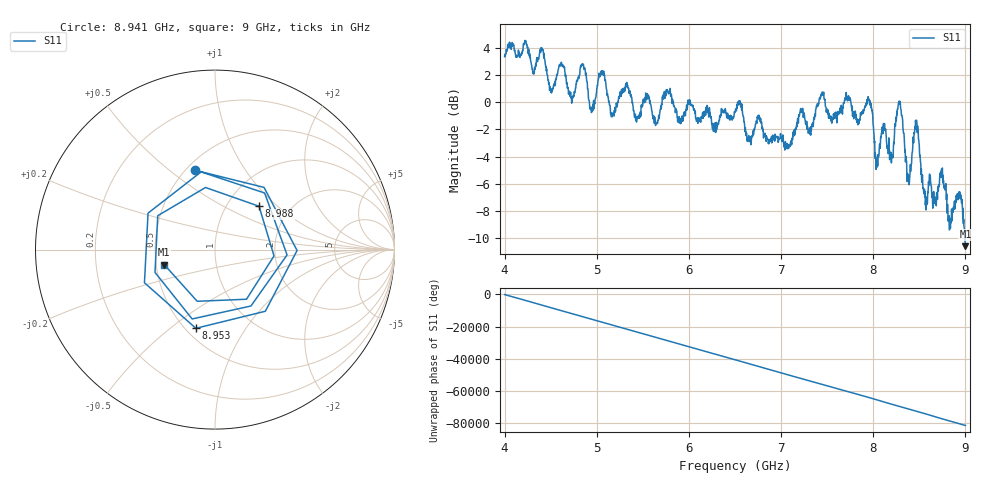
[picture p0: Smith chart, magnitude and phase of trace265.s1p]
! Created with skrf 1.8.0 (http://scikit-rf.org).
# Hz S RI R 50.0
!freq ReS11 ImS11
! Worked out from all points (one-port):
!   1601 points, 4 GHz to 9 GHz, reference 50 ohm
!   lowest |S11| = -10.6 dB at 9 GHz (marker M1), VSWR 1.84, Z = 27.6 - j5.03 ohm
!   |S11| at or under -10 dB: 8.995452 GHz to end of sweep
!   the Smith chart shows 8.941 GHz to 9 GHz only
!   S11 on the Smith chart (normalised r, x): 8.941 GHz: 0.55, +0.62; 8.953 GHz: 0.56, -0.62; 8.988 GHz: 1.40, +0.77; 9 GHz: 0.55, -0.10
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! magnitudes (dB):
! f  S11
! 4 GHz  3.4
! 4.403 GHz  4.0
! 4.512 GHz  1.0
! 4.625 GHz  2.8
! 4.728 GHz  -0.1
! 4.85 GHz  2.8
! 4.947 GHz  -0.7
! 5.05 GHz  2.3
! 5.162 GHz  -0.8
! 5.25 GHz  0.7
! 5.875 GHz  -1.1
! 6.5 GHz  -0.7
! 7.125 GHz  -2.7
! 7.438 GHz  0.6
! 7.75 GHz  0.1
! 7.962 GHz  -0.1
! 8.044 GHz  -4.3
! 8.112 GHz  -1.6
! 8.2 GHz  -4.0
! 8.288 GHz  -0.1
! 8.375 GHz  -5.4
! 8.466 GHz  -1.6
! 8.562 GHz  -6.6
! 8.838 GHz  -9.3
! 8.941 GHz  -6.8
! 8.953 GHz  -6.9
! 8.988 GHz  -9.3
! 9 GHz  -10.6
